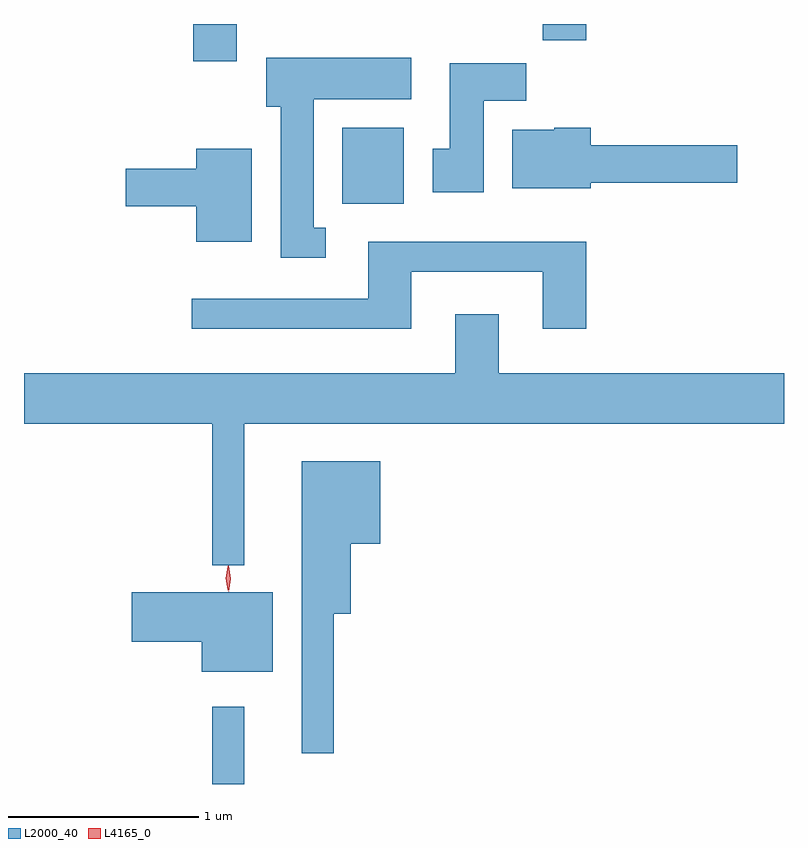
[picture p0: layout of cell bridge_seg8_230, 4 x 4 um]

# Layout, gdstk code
import gdstk
lib = gdstk.Library(unit=1e-6, precision=1e-09)
def R(c, l, rs):  # rectangles x0, y0, x1, y1
    for r in rs: c.add(gdstk.rectangle(r[:2], r[2:], *l))
def P(c, l, *ps):  # polygons
    for p in ps: c.add(gdstk.Polygon(p, *l))
L2000_40 = (2000, 40)
L4165_0 = (4165, 0)

bridge_seg8_230 = lib.new_cell('bridge_seg8_230')
R(bridge_seg8_230, L2000_40, [(1118.891,1854.501,1119.059,1854.908), (1119.576,1857.556,1119.899,1857.954), (1118.791,1858.306,1119.019,1858.501), (1120.631,1858.416,1120.859,1858.501)])
P(bridge_seg8_230, L2000_40, [(1119.488,1857.429),(1119.424,1857.429),(1119.424,1858.106),(1119.939,1858.106),(1119.939,1858.324),(1119.176,1858.324),(1119.176,1858.066),(1119.251,1858.066),(1119.251,1857.271),(1119.488,1857.271)],
  [(1120.319,1858.096),(1120.544,1858.096),(1120.544,1858.294),(1120.141,1858.294),(1120.141,1857.844),(1120.051,1857.844),(1120.051,1857.616),(1120.319,1857.616)],
  [(1120.884,1857.666),(1121.654,1857.666),(1121.654,1857.864),(1120.884,1857.864),(1120.884,1857.954),(1120.69,1857.954),(1120.69,1857.944),(1120.471,1857.944),(1120.471,1857.636),(1120.884,1857.636)],
  [(1119.099,1857.844),(1118.806,1857.844),(1118.806,1857.739),(1118.436,1857.739),(1118.436,1857.541),(1118.806,1857.541),(1118.806,1857.356),(1119.099,1857.356)],
  [(1119.939,1857.196),(1120.631,1857.196),(1120.631,1856.896),(1120.859,1856.896),(1120.859,1857.354),(1119.711,1857.354),(1119.711,1857.054),(1118.783,1857.054),(1118.783,1856.896),(1119.939,1856.896)],
  [(1119.059,1856.396),(1121.9,1856.396),(1121.9,1856.664),(1120.399,1856.664),(1120.399,1856.974),(1120.171,1856.974),(1120.171,1856.664),(1117.9,1856.664),(1117.9,1856.396),(1118.891,1856.396),(1118.891,1855.653),(1119.059,1855.653)],
  [(1119.529,1855.396),(1119.619,1855.396),(1119.619,1855.766),(1119.774,1855.766),(1119.774,1856.199),(1119.361,1856.199),(1119.361,1854.663),(1119.529,1854.663)],
  [(1119.209,1855.509),(1118.466,1855.509),(1118.466,1855.251),(1118.836,1855.251),(1118.836,1855.091),(1119.209,1855.091)])
P(bridge_seg8_230, L4165_0, [(1118.977,1855.514),(1118.967,1855.582),(1118.976,1855.65),(1118.977,1855.65),(1118.977,1855.65),(1118.987,1855.582),(1118.978,1855.514),(1118.978,1855.514)],
  [(1118.972,1855.52),(1118.972,1855.52),(1118.962,1855.583),(1118.972,1855.646),(1118.972,1855.647),(1118.973,1855.646),(1118.982,1855.583),(1118.973,1855.52)])

lib.write_gds('bridge_seg8_230.gds')
